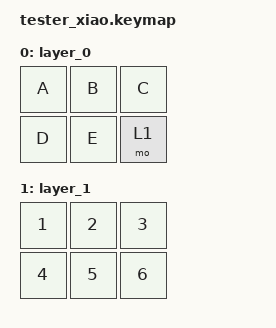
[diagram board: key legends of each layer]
#include <behaviors.dtsi>
#include <dt-bindings/zmk/keys.h>

/ {
    keymap {
        compatible = "zmk,keymap";

        layer_0 {
            bindings = <
&kp A  &kp B  &kp C
&kp D  &kp E  &mo 1
            >;
        };

        layer_1 {
            bindings = <
&kp N1  &kp N2  &kp N3
&kp N4  &kp N5  &kp N6
            >;
        };
    };
};
